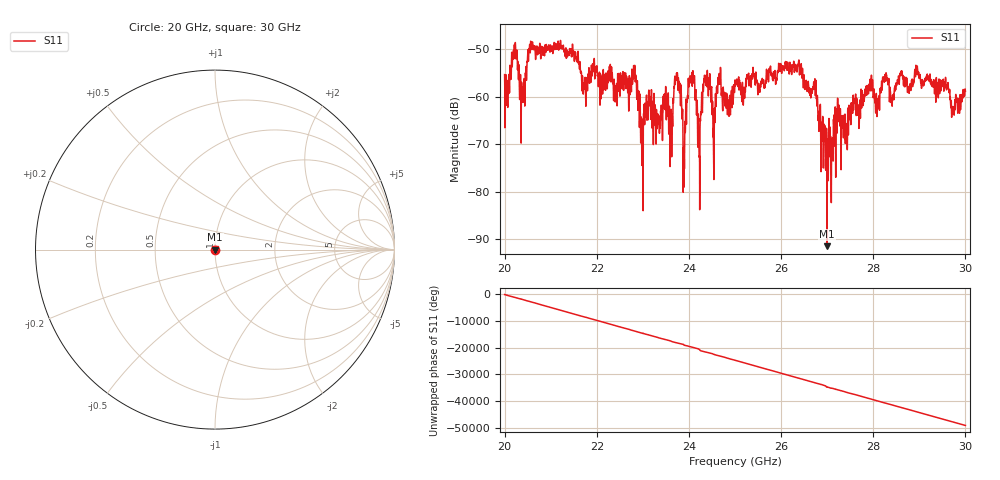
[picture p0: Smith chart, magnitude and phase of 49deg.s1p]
#  HZ  S  RI  R  50.00
! Rohde & Schwarz ZVA40 4Ports - Version 3.90 - 1145.1110k42 SN: 100403
! Date: 2023-10-03 10:46:08
! Measurement: S12
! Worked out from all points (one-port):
!   5001 points, 20 GHz to 30 GHz, reference 50 ohm
!   lowest |S11| = -91.4 dB at 27 GHz (marker M1), VSWR 1.00, Z = 50 - j0.00142 ohm
!   |S11| at or under -10 dB: start of sweep to end of sweep
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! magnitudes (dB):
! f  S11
! 20 GHz  -55.3
! 20.22 GHz  -50.8
! 20.37 GHz  -56.9
! 20.58 GHz  -49.0
! 21.25 GHz  -50.0
! 21.72 GHz  -57.1
! 22.5 GHz  -57.6
! 22.81 GHz  -55.7
! 22.97 GHz  -65.6
! 23.49 GHz  -60.0
! 23.61 GHz  -66.9
! 23.75 GHz  -55.0
! 23.9 GHz  -72.7
! 24.04 GHz  -55.9
! 24.21 GHz  -68.7
! 24.35 GHz  -56.0
! 24.55 GHz  -70.3
! 24.65 GHz  -56.7
! 24.86 GHz  -62.7
! 25 GHz  -56.5
! 26.25 GHz  -53.3
! 26.74 GHz  -58.4
! 27 GHz  -91.4
! 27.5 GHz  -63.0
! 28.09 GHz  -60.4
! 28.25 GHz  -55.4
! 28.75 GHz  -58.7
! 30 GHz  -58.9
